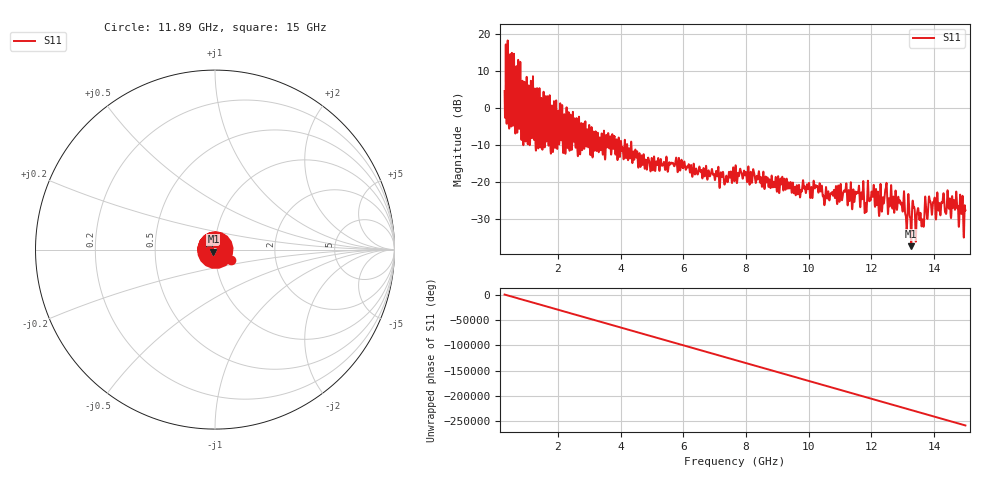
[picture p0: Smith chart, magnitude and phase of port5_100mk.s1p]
# GHZ S RI R 50.0
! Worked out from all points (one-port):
!   12801 points, 300 MHz to 15 GHz, reference 50 ohm
!   lowest |S11| = -37.2 dB at 13.27 GHz (marker M1), VSWR 1.03, Z = 49.1 - j1.05 ohm
!   |S11| at or under -10 dB: 4.024 GHz to 4.124 GHz (100.4 MHz wide, 2.46 % of centre); 4.211 GHz to 4.329 GHz (117.7 MHz wide, 2.76 % of centre); 4.346 GHz to end of sweep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
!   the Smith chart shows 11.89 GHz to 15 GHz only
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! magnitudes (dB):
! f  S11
! 300 MHz  4.6
! 698.5 MHz  -6.4
! 739.9 MHz  3.4
! 904.1 MHz  -9.5
! 1.2 GHz  3.4
! 1.439 GHz  -10.5
! 1.607 GHz  -1.0
! 1.835 GHz  -11.7
! 2.138 GHz  0.6
! 2.232 GHz  -12.0
! 2.537 GHz  -3.0
! 2.693 GHz  -10.7
! 3.975 GHz  -13.2
! 4.981 GHz  -14.6
! 5.812 GHz  -17.0
! 7.361 GHz  -18.7
! 7.65 GHz  -18.4
! 9.488 GHz  -20.6
! 11.32 GHz  -23.3
! 12.02 GHz  -23.4
! 12.29 GHz  -20.4
! 12.43 GHz  -22.5
! 13.16 GHz  -26.6
! 13.27 GHz  -37.2
! 13.61 GHz  -31.5
! 13.78 GHz  -29.7
! 14.29 GHz  -23.7
! 15 GHz  -27.6
